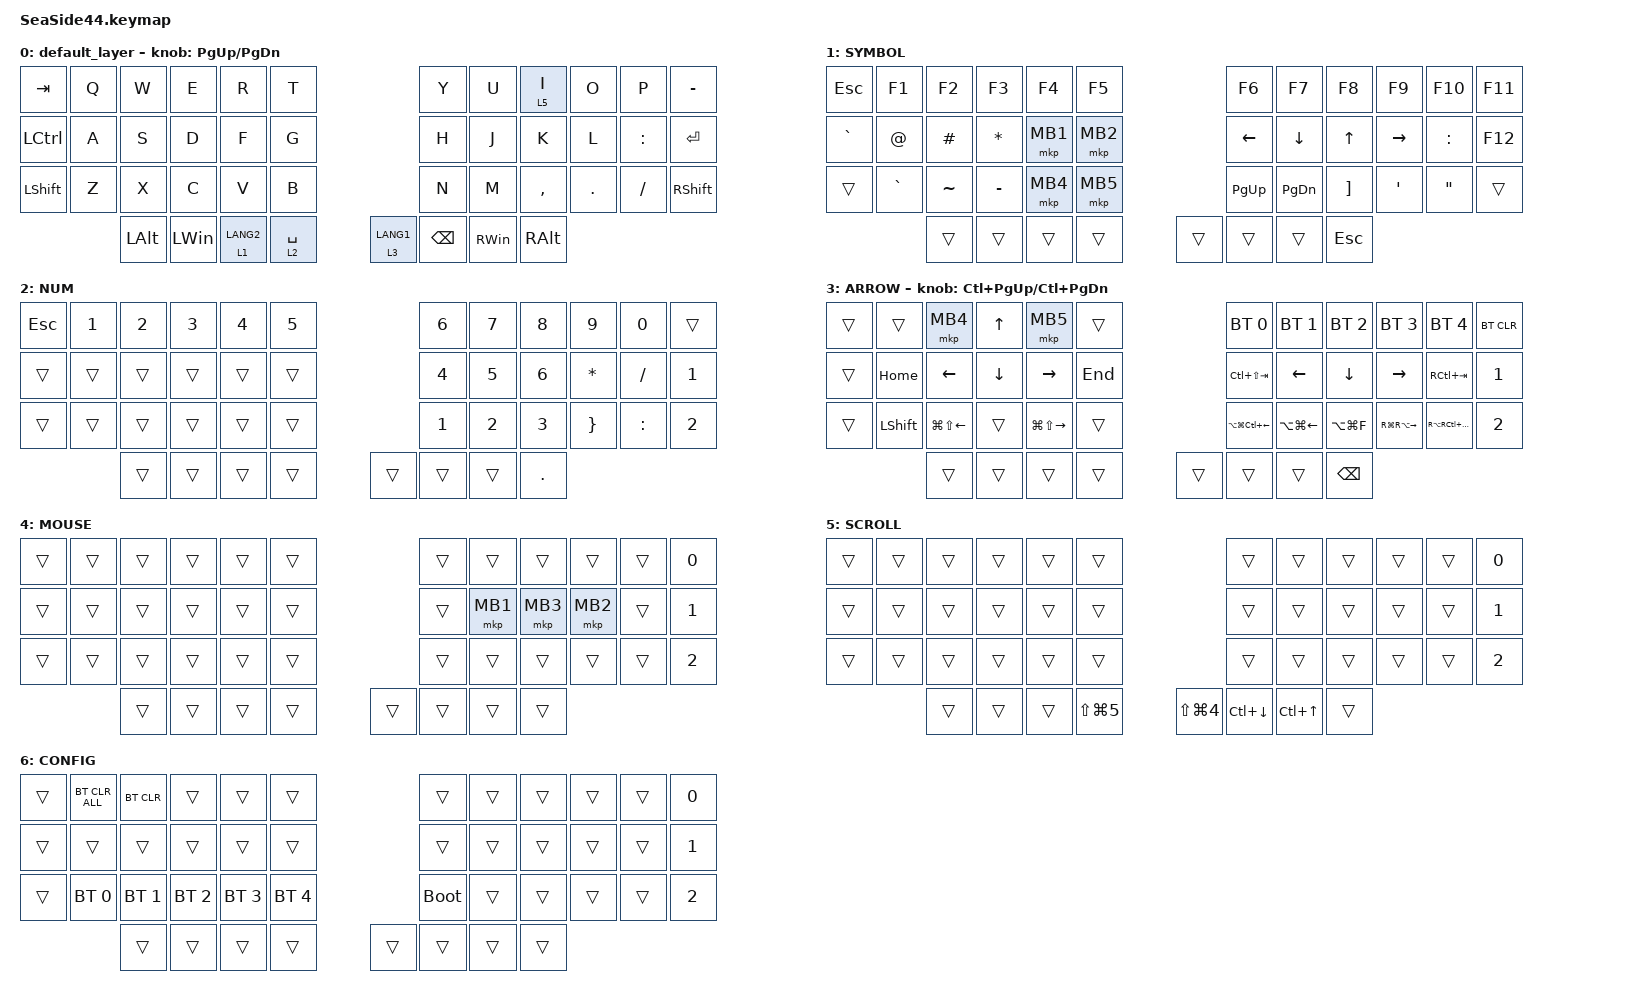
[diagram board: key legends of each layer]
#include <behaviors.dtsi>
#include <dt-bindings/zmk/bt.h>
#include <dt-bindings/zmk/keys.h>
#include <dt-bindings/zmk/pointing.h>

#define MOUSE 4
#define SCROLL 5
#define NUM 6

&mt {
    flavor = "balanced";
    quick-tap-ms = <300>;
};

&lt {
    flavor = "balanced";
    quick-tap-ms = <300>;
};

/ {
    combos { compatible = "zmk,combos"; };

    macros {
        to_layer_0: to_layer_0 {
            compatible = "zmk,behavior-macro-one-param";
            #binding-cells = <1>;
            bindings = <&to 0 &macro_param_1to1 &kp MACRO_PLACEHOLDER>;
            label = "TO_LAYER_0";
        };
    };

    behaviors {
        lt_to_layer_0: lt_to_layer_0 {
            compatible = "zmk,behavior-hold-tap";
            label = "LAYER_TAP_TO_0";
            bindings = <&mo>, <&to_layer_0>;

            #binding-cells = <2>;
            tapping-term-ms = <200>;
        };
    };

    keymap {
        compatible = "zmk,keymap";

        default_layer {
            bindings = <
&kp TAB           &kp Q  &kp W         &kp E         &kp R        &kp T                                      &kp Y          &kp U  &lt 5 I        &kp O    &kp P      &kp MINUS
&kp LEFT_CONTROL  &kp A  &kp S         &kp D         &kp F        &kp G                                      &kp H          &kp J  &kp K          &kp L    &kp COLON  &kp ENTER
&kp LSHFT         &kp Z  &kp X         &kp C         &kp V        &kp B                                      &kp N          &kp M  &kp COMMA      &kp DOT  &kp SLASH  &kp RIGHT_SHIFT
                         &kp LEFT_ALT  &kp LEFT_WIN  &lt 1 LANG2  &lt 2 SPACE  &lt 3 LANG1    &kp BACKSPACE  &kp RIGHT_WIN         &kp RIGHT_ALT
            >;

            sensor-bindings = <&inc_dec_kp PG_UP PAGE_DOWN>;
        };

        SYMBOL {
            bindings = <
&kp ESCAPE  &kp F1     &kp F2     &kp F3        &kp F4    &kp F5                      &kp F6          &kp F7          &kp F8        &kp F9           &kp F10            &kp F11
&kp GRAVE   &kp AT     &kp HASH   &kp ASTERISK  &mkp MB1  &mkp MB2                    &kp LEFT_ARROW  &kp DOWN_ARROW  &kp UP_ARROW  &kp RIGHT_ARROW  &kp COLON          &kp F12
&trans      &kp GRAVE  &kp TILDE  &kp MINUS     &mkp MB4  &mkp MB5                    &kp PAGE_UP     &kp PAGE_DOWN   &kp RBKT      &kp SQT          &kp DOUBLE_QUOTES  &trans
                       &trans     &trans        &trans    &trans    &trans    &trans  &trans                          &kp ESC
            >;
        };

        NUM {
            bindings = <
&kp ESCAPE  &kp NUMBER_1  &kp NUMBER_2  &kp NUMBER_3  &kp NUMBER_4  &kp NUMBER_5                    &kp NUMBER_6  &kp NUMBER_7  &kp NUMBER_8  &kp NUMBER_9     &kp NUMBER_0  &trans
&trans      &trans        &trans        &trans        &trans        &trans                          &kp NUMBER_4  &kp NUMBER_5  &kp NUMBER_6  &kp ASTERISK     &kp SLASH     &kp N1
&trans      &trans        &trans        &trans        &trans        &trans                          &kp NUMBER_1  &kp NUMBER_2  &kp NUMBER_3  &kp RIGHT_BRACE  &kp COLON     &kp N2
                          &trans        &trans        &trans        &trans        &trans    &trans  &trans                      &kp PERIOD
            >;
        };

        ARROW {
            bindings = <
&trans  &trans          &mkp MB4                &kp UP_ARROW    &mkp MB5                 &trans                     &bt BT_SEL 0                &bt BT_SEL 1            &bt BT_SEL 2    &bt BT_SEL 3             &bt BT_SEL 4                 &bt BT_CLR
&trans  &kp HOME        &kp LEFT_ARROW          &kp DOWN_ARROW  &kp RIGHT_ARROW          &kp END                    &kp LC(LS(TAB))             &kp LEFT_ARROW          &kp DOWN_ARROW  &kp RIGHT_ARROW          &kp RC(TAB)                  &kp N1
&trans  &kp LEFT_SHIFT  &kp LG(LS(LEFT_ARROW))  &trans          &kp LG(LS(RIGHT_ARROW))  &trans                     &kp LA(LG(LC(LEFT_ARROW)))  &kp LA(LG(LEFT_ARROW))  &kp LA(LG(F))   &kp RG(RA(RIGHT_ARROW))  &kp RA(RC(RG(RIGHT_ARROW)))  &kp N2
                        &trans                  &trans          &trans                   &trans   &trans    &trans  &trans                                              &kp BACKSPACE
            >;

            sensor-bindings = <&inc_dec_kp LC(PAGE_UP) LC(PAGE_DOWN)>;
        };

        MOUSE {
            bindings = <
&trans  &trans  &trans  &trans  &trans  &trans                    &trans  &trans    &trans    &trans    &trans  &kp N0
&trans  &trans  &trans  &trans  &trans  &trans                    &trans  &mkp MB1  &mkp MB3  &mkp MB2  &trans  &kp N1
&trans  &trans  &trans  &trans  &trans  &trans                    &trans  &trans    &trans    &trans    &trans  &kp N2
                &trans  &trans  &trans  &trans  &trans    &trans  &trans            &trans
            >;
        };

        SCROLL {
            bindings = <
&trans  &trans  &trans  &trans  &trans  &trans                                          &trans            &trans  &trans  &trans  &trans  &kp N0
&trans  &trans  &trans  &trans  &trans  &trans                                          &trans            &trans  &trans  &trans  &trans  &kp N1
&trans  &trans  &trans  &trans  &trans  &trans                                          &trans            &trans  &trans  &trans  &trans  &kp N2
                &trans  &trans  &trans  &kp LS(LG(N5))  &kp LS(LG(N4))    &kp LC(DOWN)  &kp LC(UP_ARROW)          &trans
            >;
        };

        CONFIG {
            bindings = <
&trans  &bt BT_CLR_ALL  &bt BT_CLR    &trans        &trans        &trans                          &trans       &trans  &trans  &trans  &trans  &kp N0
&trans  &trans          &trans        &trans        &trans        &trans                          &trans       &trans  &trans  &trans  &trans  &kp N1
&trans  &bt BT_SEL 0    &bt BT_SEL 1  &bt BT_SEL 2  &bt BT_SEL 3  &bt BT_SEL 4                    &bootloader  &trans  &trans  &trans  &trans  &kp N2
                        &trans        &trans        &trans        &trans        &trans    &trans  &trans               &trans
            >;
        };
    };
};
